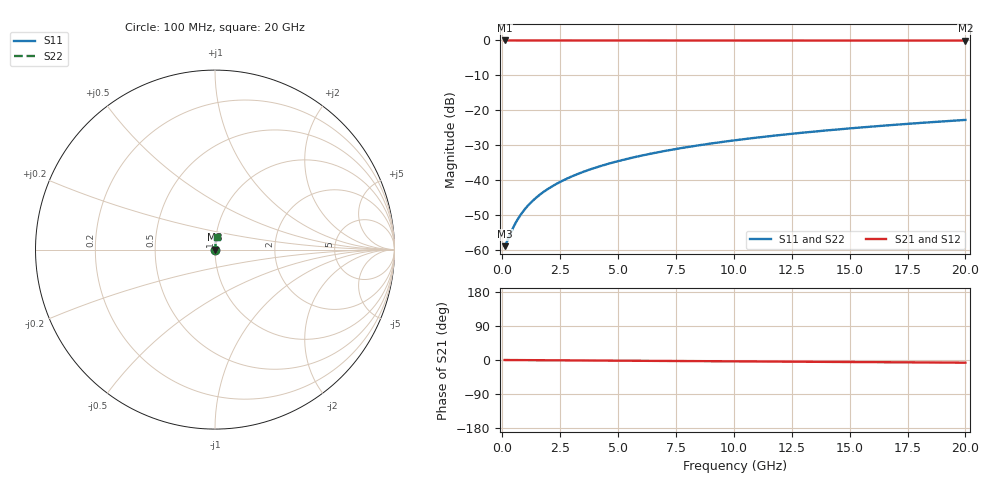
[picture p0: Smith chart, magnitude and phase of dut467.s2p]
! Touchstone file exported from HFSS 2026.1.0
!  File:  C:/ffzhzh/LocalFiles/Ansys_Project_Files/temp_train_TSV_467_1783022171_46388.aedt
!  Generated:  03:58:28 AM Jul  3, 2026
!  Design:  TSV
!  Project:  temp_train_TSV_467_1783022171_46388
! Variables:
!  h_bsmrdl = 2um
!  h_ox = 20um
!  h_rdl = 5um
!  h_sub = 54.82um
!  h_tmrdl = 5um
!  h_tsv = 54.82um
!  h_via = 3um
!  l_bsmrdl = 300um
!  l_sub = 404.9um
!  l_tmrdl = 200um
!  m_sub = 200um
!  pitch = 30.1um
!  r_tsv = 2.45um
!  s_tmrdl = 10um
!  w_bsmrdl = 18um
!  w_sub = 500um
!  w_tmrdl = 12um
!  x_tsv_center1 = 206um
!  x_tsv_center2 = 524um
!  x_tsv_center3 = 736um
!  x_tsv_center4 = 1054um
!  x_tsv_center5 = 1266um
!  x_tsv_center6 = 1584um
# GHz S MA R 50.000000
! Terminal data exported
! Port[1] = TSV1_1_T1
! Port[2] = TSV1_1_T2
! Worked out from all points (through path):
!   200 points, 100 MHz to 20 GHz, reference 50 ohm
!   highest |S21| = -0.01 dB at 100 MHz (marker M1); lowest = 0.0 dB at 20 GHz (marker M2)
!   lowest |S11| = -58.8 dB at 100 MHz (marker M3), VSWR 1.00, Z = 50.1 + j0.0386 ohm
!   |S11| at or under -10 dB: start of sweep to end of sweep
!   |S22| runs from -58.8 to -22.7 dB; largest |S21 - S12| = 4.5e-15
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0.1  0.001144 19.7  0.9989 -0.0  0.9989 -0.0  0.001144 19.7
! Gamma 0 0 0 0
! Port Impedance 50 0 50 0
0.2  0.001328 35.4  0.9989 -0.1  0.9989 -0.1  0.001328 35.4
0.4  0.001884 54.3  0.9989 -0.1  0.9989 -0.1  0.001884 54.3
0.5  0.002207 59.9  0.9989 -0.2  0.9989 -0.2  0.002207 59.9
0.7  0.00289 67.1  0.9989 -0.3  0.9989 -0.3  0.00289 67.1
0.8  0.003242 69.5  0.9989 -0.3  0.9989 -0.3  0.003242 69.5
1  0.003958 73.1  0.9989 -0.4  0.9989 -0.4  0.003958 73.1
1.3  0.005049 76.5  0.9988 -0.5  0.9988 -0.5  0.005049 76.5
1.7  0.006523 79.2  0.9988 -0.6  0.9988 -0.6  0.006523 79.2
2.2  0.008378 81.1  0.9988 -0.8  0.9988 -0.8  0.008378 81.1
2.8  0.01061 82.4  0.9987 -1.0  0.9987 -1.0  0.01061 82.4
3.5  0.01322 83.3  0.9987 -1.3  0.9987 -1.3  0.01322 83.3
4.2  0.01583 83.8  0.9986 -1.5  0.9986 -1.5  0.01583 83.8
5  0.01881 84.0  0.9985 -1.8  0.9985 -1.8  0.01881 84.0
5.9  0.02215 84.1  0.9983 -2.1  0.9983 -2.1  0.02215 84.1
6.8  0.02547 84.1  0.9981 -2.4  0.9981 -2.4  0.02547 84.1
8.3  0.03099 83.9  0.9978 -3.0  0.9978 -3.0  0.03099 83.9
10.1  0.03757 83.5  0.9974 -3.6  0.9974 -3.6  0.03757 83.5
11.7  0.04337 83.1  0.997 -4.2  0.997 -4.2  0.04337 83.1
13.4  0.0495 82.6  0.9965 -4.8  0.9965 -4.8  0.0495 82.6
16.7  0.0613 81.7  0.9956 -5.9  0.9956 -5.9  0.0613 81.7
20  0.073 80.7  0.9945 -7.1  0.9945 -7.1  0.073 80.7
